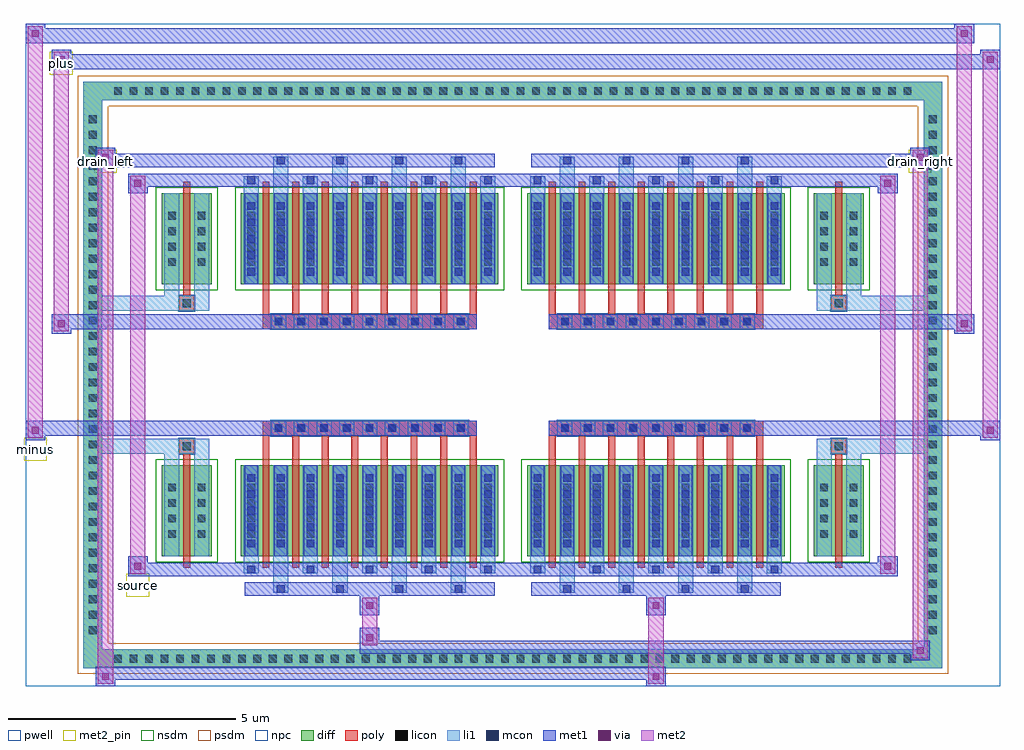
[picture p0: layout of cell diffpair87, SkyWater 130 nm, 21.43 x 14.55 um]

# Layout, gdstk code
import gdstk
lib = gdstk.Library(unit=1e-6, precision=5e-09)
def R(c, l, rs):  # rectangles x0, y0, x1, y1
    for r in rs: c.add(gdstk.rectangle(r[:2], r[2:], *l))
def A(c, l, x, y, w, h, nx, ny, dx, dy):  # array of equal rectangles
    R(c, l, [(x+i*dx, y+j*dy, x+i*dx+w, y+j*dy+h) for i in range(nx) for j in range(ny)])
def P(c, l, *ps):  # polygons
    for p in ps: c.add(gdstk.Polygon(p, *l))
pwell = (64, 44)
diff = (65, 20)
poly = (66, 20)
licon = (66, 44)
li1 = (67, 20)
mcon = (67, 44)
met1 = (68, 20)
via = (68, 44)
met2_pin = (69, 16)
met2 = (69, 20)
nsdm = (93, 44)
psdm = (94, 20)
npc = (95, 20)

diffpair87 = lib.new_cell('diffpair87')
R(diffpair87, pwell, [(-10.7,-6.84,10.7,7.71), (-8.02,-5.03,-0.01,-0.805), (0.01,-5.03,8.02,-0.805), (-8.02,0.805,-0.01,5.03), (0.01,0.805,8.02,5.03)])
A(diffpair87, diff, -8.875, -6.44, 0.41, 0.41, 52, 2, 0.34, 12.47)
A(diffpair87, diff, -9.43, -5.815, 0.41, 0.41, 1, 34, 0, 0.34)
A(diffpair87, diff, 9.02, -5.815, 0.41, 0.41, 1, 34, 0, 0.34)
R(diffpair87, diff, [(-8.875,-6.44,8.875,-6.03), (-9.43,-5.815,-9.02,5.815), (9.02,-5.815,9.43,5.815), (-7.71,-3.985,-6.61,-1.985), (-5.97,-3.985,-0.32,-1.985), (0.32,-3.985,5.97,-1.985), (6.61,-3.985,7.71,-1.985), (-7.71,1.985,-6.61,3.985), (-5.97,1.985,-0.32,3.985), (0.32,1.985,5.97,3.985), (6.61,1.985,7.71,3.985), (-8.875,6.03,8.875,6.44)])
P(diffpair87, diff, [(9.43,6.44),(-9.43,6.44),(-9.43,-6.03),(-9.02,-6.03),(-9.02,6.03),(9.02,6.03),(9.02,-6.03),(-9.02,-6.03),(-9.43,-6.03),(-9.43,-6.44),(9.43,-6.44)])
A(diffpair87, poly, -5.495, -4.235, 0.15, 2.5, 8, 2, 0.65, 5.97)
A(diffpair87, poly, 0.795, -4.235, 0.15, 2.5, 8, 2, 0.65, 5.97)
A(diffpair87, poly, -5.495, -1.735, 0.15, 0.4, 8, 2, 0.65, 3.07)
A(diffpair87, poly, 0.795, -1.735, 0.15, 0.4, 8, 2, 0.65, 3.07)
A(diffpair87, poly, -5.31, -1.335, 0.33, 0.33, 9, 2, 0.5, 2.34)
A(diffpair87, poly, 0.98, -1.335, 0.33, 0.33, 9, 2, 0.5, 2.34)
R(diffpair87, poly, [(-7.235,-4.235,-7.085,-1.735), (7.085,-4.235,7.235,-1.735), (-7.325,-1.735,-6.995,-1.405), (-7.325,-1.735,-6.995,-1.405), (6.995,-1.735,7.325,-1.405), (6.995,-1.735,7.325,-1.405), (-5.495,-1.335,-0.795,-1.005), (0.795,-1.335,5.495,-1.005), (-5.495,1.005,-0.795,1.335), (0.795,1.005,5.495,1.335), (-7.325,1.405,-6.995,1.735), (-7.325,1.405,-6.995,1.735), (6.995,1.405,7.325,1.735), (6.995,1.405,7.325,1.735), (-7.235,1.735,-7.085,4.235), (7.085,1.735,7.235,4.235)])
A(diffpair87, licon, -8.755, -6.32, 0.17, 0.17, 52, 2, 0.34, 12.47)
A(diffpair87, licon, -9.31, -5.695, 0.17, 0.17, 1, 34, 0, 0.34)
A(diffpair87, licon, 9.14, -5.695, 0.17, 0.17, 1, 34, 0, 0.34)
A(diffpair87, licon, -7.57, -3.58, 0.17, 0.17, 1, 4, 0, 0.34)
A(diffpair87, licon, -6.92, -3.58, 0.17, 0.17, 1, 4, 0, 0.34)
A(diffpair87, licon, -5.83, -3.58, 0.17, 0.17, 9, 4, 0.65, 0.34)
A(diffpair87, licon, 0.46, -3.58, 0.17, 0.17, 9, 4, 0.65, 0.34)
A(diffpair87, licon, 6.75, -3.58, 0.17, 0.17, 1, 4, 0, 0.34)
A(diffpair87, licon, 7.4, -3.58, 0.17, 0.17, 1, 4, 0, 0.34)
A(diffpair87, licon, -5.23, -1.255, 0.17, 0.17, 9, 2, 0.5, 2.34)
A(diffpair87, licon, 1.06, -1.255, 0.17, 0.17, 9, 2, 0.5, 2.34)
A(diffpair87, licon, -7.57, 2.39, 0.17, 0.17, 1, 4, 0, 0.34)
A(diffpair87, licon, -6.92, 2.39, 0.17, 0.17, 1, 4, 0, 0.34)
A(diffpair87, licon, -5.83, 2.39, 0.17, 0.17, 9, 4, 0.65, 0.34)
A(diffpair87, licon, 0.46, 2.39, 0.17, 0.17, 9, 4, 0.65, 0.34)
A(diffpair87, licon, 6.75, 2.39, 0.17, 0.17, 1, 4, 0, 0.34)
A(diffpair87, licon, 7.4, 2.39, 0.17, 0.17, 1, 4, 0, 0.34)
R(diffpair87, licon, [(-7.245,-1.655,-7.075,-1.485), (7.075,-1.655,7.245,-1.485), (-7.245,1.485,-7.075,1.655), (7.075,1.485,7.245,1.655)])
A(diffpair87, li1, -8.835, -6.4, 0.33, 0.33, 52, 2, 0.34, 12.47)
A(diffpair87, li1, -9.39, -5.775, 0.33, 0.33, 1, 34, 0, 0.34)
A(diffpair87, li1, 9.06, -5.775, 0.33, 0.33, 1, 34, 0, 0.34)
A(diffpair87, li1, -5.26, -4.79, 0.33, 0.805, 4, 2, 1.3, 8.775)
A(diffpair87, li1, -5.18, -4.79, 0.17, 0.17, 4, 2, 1.3, 9.41)
A(diffpair87, li1, 1.03, -4.79, 0.33, 0.805, 4, 2, 1.3, 8.775)
A(diffpair87, li1, 1.11, -4.79, 0.17, 0.17, 4, 2, 1.3, 9.41)
A(diffpair87, li1, -5.91, -4.36, 0.33, 0.375, 5, 2, 1.3, 8.345)
A(diffpair87, li1, -5.83, -4.36, 0.17, 0.17, 5, 2, 1.3, 8.55)
A(diffpair87, li1, 0.38, -4.36, 0.33, 0.375, 5, 2, 1.3, 8.345)
A(diffpair87, li1, 0.46, -4.36, 0.17, 0.17, 5, 2, 1.3, 8.55)
A(diffpair87, li1, -5.91, -3.985, 0.33, 2, 9, 2, 0.65, 5.97)
A(diffpair87, li1, 0.38, -3.985, 0.33, 2, 9, 2, 0.65, 5.97)
A(diffpair87, li1, -5.83, -3.79, 0.17, 0.17, 9, 5, 0.65, 0.36)
A(diffpair87, li1, -5.83, -3.79, 0.17, 1.61, 9, 2, 0.65, 5.97)
A(diffpair87, li1, 0.46, -3.79, 0.17, 0.17, 9, 5, 0.65, 0.36)
A(diffpair87, li1, 0.46, -3.79, 0.17, 1.61, 9, 2, 0.65, 5.97)
A(diffpair87, li1, -7.65, -3.66, 0.33, 0.33, 1, 4, 0, 0.34)
A(diffpair87, li1, -7, -3.66, 0.33, 0.33, 1, 4, 0, 0.34)
A(diffpair87, li1, -5.91, -3.66, 0.33, 0.33, 9, 4, 0.65, 0.34)
A(diffpair87, li1, 0.38, -3.66, 0.33, 0.33, 9, 4, 0.65, 0.34)
A(diffpair87, li1, 6.67, -3.66, 0.33, 0.33, 1, 4, 0, 0.34)
A(diffpair87, li1, 7.32, -3.66, 0.33, 0.33, 1, 4, 0, 0.34)
A(diffpair87, li1, -5.31, -1.335, 0.33, 0.33, 9, 2, 0.5, 2.34)
A(diffpair87, li1, 0.98, -1.335, 0.33, 0.33, 9, 2, 0.5, 2.34)
A(diffpair87, li1, -5.83, 2.18, 0.17, 0.17, 9, 5, 0.65, 0.36)
A(diffpair87, li1, 0.46, 2.18, 0.17, 0.17, 9, 5, 0.65, 0.36)
A(diffpair87, li1, -7.65, 2.31, 0.33, 0.33, 1, 4, 0, 0.34)
A(diffpair87, li1, -7, 2.31, 0.33, 0.33, 1, 4, 0, 0.34)
A(diffpair87, li1, -5.91, 2.31, 0.33, 0.33, 9, 4, 0.65, 0.34)
A(diffpair87, li1, 0.38, 2.31, 0.33, 0.33, 9, 4, 0.65, 0.34)
A(diffpair87, li1, 6.67, 2.31, 0.33, 0.33, 1, 4, 0, 0.34)
A(diffpair87, li1, 7.32, 2.31, 0.33, 0.33, 1, 4, 0, 0.34)
R(diffpair87, li1, [(-9.43,-6.44,-9.02,-6.03), (-9.43,-6.44,-9.02,-6.03), (-9.02,-6.44,9.02,-6.03), (9.02,-6.44,9.43,-6.03), (9.02,-6.44,9.43,-6.03), (-9.43,-6.03,-9.02,6.03), (9.02,-6.03,9.43,6.03), (-7.65,-3.985,-7.32,-1.985), (-7,-3.985,-6.67,-1.985), (6.67,-3.985,7,-1.985), (7.32,-3.985,7.65,-1.985), (-7.65,-1.985,-7.32,-1.405), (-7,-1.985,-6.67,-1.405), (6.67,-1.985,7,-1.405), (7.32,-1.985,7.65,-1.405), (-9.43,-1.735,-7.325,-1.405), (-7.65,-1.735,-7.325,-1.405), (-7.325,-1.735,-6.995,-1.405), (-6.995,-1.735,-6.67,-1.405), (6.67,-1.735,6.995,-1.405), (6.995,-1.735,7.325,-1.405), (6.995,-1.735,9.43,-1.405), (7.325,-1.735,7.65,-1.405), (-9.43,1.405,-7.325,1.735), (-7.65,1.405,-7.325,1.735), (-7.65,1.405,-7.32,1.985), (-7.325,1.405,-6.995,1.735), (-7,1.405,-6.67,1.985), (-6.995,1.405,-6.67,1.735), (6.67,1.405,6.995,1.735), (6.67,1.405,7,1.985), (6.995,1.405,7.325,1.735), (6.995,1.405,9.43,1.735), (7.32,1.405,7.65,1.985), (7.325,1.405,7.65,1.735), (-7.65,1.985,-7.32,3.985), (-7,1.985,-6.67,3.985), (6.67,1.985,7,3.985), (7.32,1.985,7.65,3.985), (-9.43,6.03,-9.02,6.44), (-9.43,6.03,-9.02,6.44), (-9.02,6.03,9.02,6.44), (9.02,6.03,9.43,6.44), (9.02,6.03,9.43,6.44)])
A(diffpair87, mcon, -5.18, -4.79, 0.17, 0.17, 4, 2, 1.3, 9.41)
A(diffpair87, mcon, 1.11, -4.79, 0.17, 0.17, 4, 2, 1.3, 9.41)
A(diffpair87, mcon, -5.83, -4.36, 0.17, 0.17, 5, 2, 1.3, 8.55)
A(diffpair87, mcon, 0.46, -4.36, 0.17, 0.17, 5, 2, 1.3, 8.55)
A(diffpair87, mcon, -5.83, -3.79, 0.17, 0.17, 9, 5, 0.65, 0.36)
A(diffpair87, mcon, 0.46, -3.79, 0.17, 0.17, 9, 5, 0.65, 0.36)
A(diffpair87, mcon, -5.23, -1.255, 0.17, 0.17, 9, 2, 0.5, 2.34)
A(diffpair87, mcon, 1.06, -1.255, 0.17, 0.17, 9, 2, 0.5, 2.34)
A(diffpair87, mcon, -5.83, 2.18, 0.17, 0.17, 9, 5, 0.65, 0.36)
A(diffpair87, mcon, 0.46, 2.18, 0.17, 0.17, 9, 5, 0.65, 0.36)
A(diffpair87, met1, -5.24, -4.85, 0.29, 0.29, 4, 2, 1.3, 9.41)
A(diffpair87, met1, 1.05, -4.85, 0.29, 0.29, 4, 2, 1.3, 9.41)
A(diffpair87, met1, -5.89, -4.42, 0.29, 0.29, 5, 2, 1.3, 8.55)
A(diffpair87, met1, 0.4, -4.42, 0.29, 0.29, 5, 2, 1.3, 8.55)
A(diffpair87, met1, -5.89, -3.985, 0.29, 2, 9, 2, 0.65, 5.97)
A(diffpair87, met1, 0.4, -3.985, 0.29, 2, 9, 2, 0.65, 5.97)
A(diffpair87, met1, -5.89, -3.85, 0.29, 0.29, 9, 5, 0.65, 0.36)
A(diffpair87, met1, 0.4, -3.85, 0.29, 0.29, 9, 5, 0.65, 0.36)
A(diffpair87, met1, -5.29, -1.315, 0.29, 0.29, 9, 2, 0.5, 2.34)
A(diffpair87, met1, 1, -1.315, 0.29, 0.29, 9, 2, 0.5, 2.34)
A(diffpair87, met1, -5.89, 2.12, 0.29, 0.29, 9, 5, 0.65, 0.36)
A(diffpair87, met1, 0.4, 2.12, 0.29, 0.29, 9, 5, 0.65, 0.36)
R(diffpair87, met1, [(-9.16,-6.84,-8.73,-6.41), (2.93,-6.84,3.36,-6.41), (-9.16,-6.7,3.36,-6.41), (8.73,-6.27,9.16,-5.84), (-3.36,-6.13,9.16,-5.84), (-3.36,-5.99,-2.93,-5.56), (-3.36,-5.28,-2.93,-4.85), (2.93,-5.28,3.36,-4.85), (-5.89,-4.85,-0.4,-4.56), (0.4,-4.85,5.89,-4.56), (-8.45,-4.42,-8.02,-3.99), (-8.45,-4.42,-5.89,-4.13), (-5.89,-4.42,-0.4,-4.13), (-0.4,-4.42,0.4,-4.13), (0.4,-4.42,5.89,-4.13), (5.89,-4.42,8.45,-4.13), (8.02,-4.42,8.45,-3.99), (-10.7,-1.435,-10.27,-1.005), (10.27,-1.435,10.7,-1.005), (-10.7,-1.335,-0.795,-1.005), (-5.495,-1.335,-0.795,-1.005), (0.795,-1.335,5.495,-1.005), (0.795,-1.335,10.7,-1.005), (-10.13,0.905,-9.7,1.335), (9.7,0.905,10.13,1.335), (-10.13,1.005,-5.495,1.335), (-5.495,1.005,-0.795,1.335), (0.795,1.005,5.495,1.335), (5.495,1.005,10.13,1.335), (-8.45,3.99,-8.02,4.42), (8.02,3.99,8.45,4.42), (-8.45,4.13,-5.89,4.42), (-5.89,4.13,-0.4,4.42), (-0.4,4.13,0.4,4.42), (0.4,4.13,5.89,4.42), (5.89,4.13,8.45,4.42), (-9.16,4.56,-8.73,4.99), (-9.16,4.56,-5.89,4.85), (-5.89,4.56,-0.4,4.85), (0.4,4.56,5.89,4.85), (5.89,4.56,9.16,4.85), (8.73,4.56,9.16,4.99), (-10.13,6.71,-9.7,7.14), (-10.13,6.71,-8.02,7.04), (-8.02,6.71,8.02,7.04), (8.02,6.71,10.7,7.04), (10.27,6.71,10.7,7.14), (-10.7,7.28,-10.27,7.71), (-10.7,7.28,-8.02,7.61), (-8.02,7.28,8.02,7.61), (8.02,7.28,10.13,7.61), (9.7,7.28,10.13,7.71)])
R(diffpair87, via, [(-9.02,-6.7,-8.87,-6.55), (3.07,-6.7,3.22,-6.55), (8.87,-6.13,9.02,-5.98), (-3.22,-5.85,-3.07,-5.7), (-3.22,-5.14,-3.07,-4.99), (3.07,-5.14,3.22,-4.99), (-8.31,-4.28,-8.16,-4.13), (8.16,-4.28,8.31,-4.13), (-10.56,-1.295,-10.41,-1.145), (10.41,-1.295,10.56,-1.145), (-9.99,1.045,-9.84,1.195), (9.84,1.045,9.99,1.195), (-8.31,4.13,-8.16,4.28), (8.16,4.13,8.31,4.28), (-9.02,4.7,-8.87,4.85), (8.87,4.7,9.02,4.85), (-9.99,6.85,-9.84,7), (10.41,6.85,10.56,7), (-10.56,7.42,-10.41,7.57), (9.84,7.42,9.99,7.57)])
R(diffpair87, met2_pin, [(-8.485,-4.87,-7.985,-4.37), (-10.735,-1.885,-10.235,-1.385), (-9.195,4.44,-8.695,4.94), (8.695,4.44,9.195,4.94), (-10.165,6.59,-9.665,7.09)])
R(diffpair87, met2, [(-9.11,-6.79,-8.78,-6.46), (-9.11,-6.79,-8.78,4.94), (2.98,-6.79,3.31,-6.46), (2.98,-6.46,3.31,-5.23), (8.78,-6.22,9.11,-5.89), (8.78,-6.22,9.11,4.94), (-3.31,-5.94,-2.98,-5.61), (-3.31,-5.61,-2.98,-5.23), (-3.31,-5.23,-2.98,-4.9), (2.98,-5.23,3.31,-4.9), (-8.4,-4.37,-8.07,-4.04), (-8.4,-4.37,-8.07,4.37), (8.07,-4.37,8.4,-4.04), (8.07,-4.37,8.4,4.37), (-10.65,-1.385,-10.32,-1.055), (-10.65,-1.385,-10.32,7.66), (10.32,-1.385,10.65,-1.055), (10.32,-1.385,10.65,7.09), (-10.08,0.955,-9.75,1.285), (-10.08,0.955,-9.75,7.09), (9.75,0.955,10.08,1.285), (9.75,0.955,10.08,7.66), (-8.4,4.04,-8.07,4.37), (8.07,4.04,8.4,4.37), (-9.11,4.61,-8.78,4.94), (8.78,4.61,9.11,4.94), (-10.08,6.76,-9.75,7.09), (10.32,6.76,10.65,7.09), (-10.65,7.33,-10.32,7.66), (9.75,7.33,10.08,7.66)])
P(diffpair87, met2, [(10.65,-1.385),(10.65,-1.385),(10.65,-1.055),(10.65,-1.055)],
  [(10.65,6.76),(10.65,6.76),(10.65,7.09),(10.65,7.09)],
  [(-10.32,-1.385),(-10.32,-1.385),(-10.32,-1.055),(-10.32,-1.055)],
  [(-10.32,7.33),(-10.32,7.33),(-10.32,7.66),(-10.32,7.66)],
  [(10.08,0.955),(10.08,0.955),(10.08,1.285),(10.08,1.285)],
  [(10.08,7.33),(10.08,7.33),(10.08,7.66),(10.08,7.66)],
  [(-9.75,0.955),(-9.75,0.955),(-9.75,1.285),(-9.75,1.285)],
  [(-9.75,6.76),(-9.75,6.76),(-9.75,7.09),(-9.75,7.09)],
  [(-8.78,-6.79),(-8.78,-6.79),(-8.78,-6.46),(-8.78,-6.46)],
  [(-8.78,4.61),(-8.78,4.61),(-8.78,4.94),(-8.78,4.94)],
  [(9.11,-6.22),(9.11,-6.22),(9.11,-5.89),(9.11,-5.89)],
  [(9.11,4.61),(9.11,4.61),(9.11,4.94),(9.11,4.94)],
  [(-8.07,-4.37),(-8.07,-4.37),(-8.07,-4.04),(-8.07,-4.04)],
  [(-8.07,4.04),(-8.07,4.04),(-8.07,4.37),(-8.07,4.37)],
  [(8.4,-4.37),(8.4,-4.37),(8.4,-4.04),(8.4,-4.04)],
  [(8.4,4.04),(8.4,4.04),(8.4,4.37),(8.4,4.37)])
R(diffpair87, nsdm, [(-7.84,-4.115,-6.48,-1.855), (-6.1,-4.115,-0.19,-1.855), (0.19,-4.115,6.1,-1.855), (6.48,-4.115,7.84,-1.855), (-7.84,1.855,-6.48,4.115), (-6.1,1.855,-0.19,4.115), (0.19,1.855,6.1,4.115), (6.48,1.855,7.84,4.115)])
P(diffpair87, psdm, [(9.56,6.57),(-9.56,6.57),(-9.56,-5.9),(-8.89,-5.9),(-8.89,5.9),(8.89,5.9),(8.89,-5.9),(-8.89,-5.9),(-9.56,-5.9),(-9.56,-6.57),(9.56,-6.57)])
A(diffpair87, npc, -5.33, -1.355, 0.37, 0.37, 9, 2, 0.5, 2.34)
A(diffpair87, npc, 0.96, -1.355, 0.37, 0.37, 9, 2, 0.5, 2.34)
R(diffpair87, npc, [(-7.345,-1.755,-6.975,-1.385), (6.975,-1.755,7.345,-1.385), (-5.33,-1.355,-4.46,-0.985), (-5.33,-1.355,-4.46,-0.985), (-4.83,-1.355,-3.96,-0.985), (-4.83,-1.355,-3.96,-0.985), (-4.33,-1.355,-3.46,-0.985), (-4.33,-1.355,-3.46,-0.985), (-3.83,-1.355,-2.96,-0.985), (-3.83,-1.355,-2.96,-0.985), (-3.33,-1.355,-2.46,-0.985), (-3.33,-1.355,-2.46,-0.985), (-2.83,-1.355,-1.96,-0.985), (-2.83,-1.355,-1.96,-0.985), (-2.33,-1.355,-1.46,-0.985), (-2.33,-1.355,-1.46,-0.985), (-1.83,-1.355,-0.96,-0.985), (-1.83,-1.355,-0.96,-0.985), (0.96,-1.355,1.83,-0.985), (0.96,-1.355,1.83,-0.985), (1.46,-1.355,2.33,-0.985), (1.46,-1.355,2.33,-0.985), (1.96,-1.355,2.83,-0.985), (1.96,-1.355,2.83,-0.985), (2.46,-1.355,3.33,-0.985), (2.46,-1.355,3.33,-0.985), (2.96,-1.355,3.83,-0.985), (2.96,-1.355,3.83,-0.985), (3.46,-1.355,4.33,-0.985), (3.46,-1.355,4.33,-0.985), (3.96,-1.355,4.83,-0.985), (3.96,-1.355,4.83,-0.985), (4.46,-1.355,5.33,-0.985), (4.46,-1.355,5.33,-0.985), (-5.33,0.985,-4.46,1.355), (-5.33,0.985,-4.46,1.355), (-4.83,0.985,-3.96,1.355), (-4.83,0.985,-3.96,1.355), (-4.33,0.985,-3.46,1.355), (-4.33,0.985,-3.46,1.355), (-3.83,0.985,-2.96,1.355), (-3.83,0.985,-2.96,1.355), (-3.33,0.985,-2.46,1.355), (-3.33,0.985,-2.46,1.355), (-2.83,0.985,-1.96,1.355), (-2.83,0.985,-1.96,1.355), (-2.33,0.985,-1.46,1.355), (-2.33,0.985,-1.46,1.355), (-1.83,0.985,-0.96,1.355), (-1.83,0.985,-0.96,1.355), (0.96,0.985,1.83,1.355), (0.96,0.985,1.83,1.355), (1.46,0.985,2.33,1.355), (1.46,0.985,2.33,1.355), (1.96,0.985,2.83,1.355), (1.96,0.985,2.83,1.355), (2.46,0.985,3.33,1.355), (2.46,0.985,3.33,1.355), (2.96,0.985,3.83,1.355), (2.96,0.985,3.83,1.355), (3.46,0.985,4.33,1.355), (3.46,0.985,4.33,1.355), (3.96,0.985,4.83,1.355), (3.96,0.985,4.83,1.355), (4.46,0.985,5.33,1.355), (4.46,0.985,5.33,1.355), (-7.345,1.385,-6.975,1.755), (6.975,1.385,7.345,1.755)])
diffpair87.add(gdstk.Label('minus', (-10.485,-1.635), layer=69, texttype=5))
diffpair87.add(gdstk.Label('drain_right', (8.945,4.69), layer=69, texttype=5))
diffpair87.add(gdstk.Label('drain_left', (-8.945,4.69), layer=69, texttype=5))
diffpair87.add(gdstk.Label('source', (-8.235,-4.62), layer=69, texttype=5))
diffpair87.add(gdstk.Label('plus', (-9.915,6.84), layer=69, texttype=5))

lib.write_gds('diffpair87.gds')
